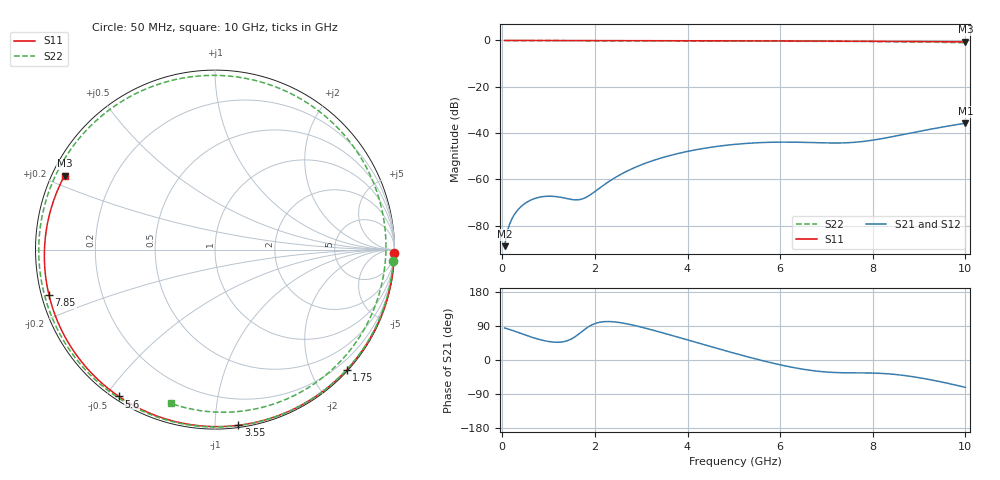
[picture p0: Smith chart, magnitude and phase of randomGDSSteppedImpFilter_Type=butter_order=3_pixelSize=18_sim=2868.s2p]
! freq	dB(S11)	phase(S11)	dB(S12)	phase(S12)
!  dB(S21)	phase(S21)	dB(S22)	phase(S22)
!S-par simulation data
#  GHz  S  DB  R 50
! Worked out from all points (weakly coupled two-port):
!   200 points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, 50 MHz to 10 GHz, reference 50 ohm
!   highest |S21| = -35.75 dB at 10 GHz (marker M1); lowest = -88.9 dB at 50 MHz (marker M2)
!   lowest |S11| = -0.6 dB at 10 GHz (marker M3), VSWR 29.23, Z = 1.8 + j11.6 ohm
!   |S11| at or under -10 dB: nowhere
!   |S22| runs from -1.0 to 0.0 dB; largest |S21 - S12| = 0
!   S11 on the Smith chart (normalised r, x): 50 MHz: 4, -96; 1.75 GHz: 0.02, -2.58; 3.55 GHz: 0.01, -1.14; 5.6 GHz: 0.01, -0.54; 7.85 GHz: 0.02, -0.13; 10 GHz: 0.04, +0.23
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0.05  -0.01 -1.2  -88.87 84.5  -88.87 84.5  -0.05 -3.8
0.15  -0.01 -3.7  -79.77 80.8  -79.77 80.8  -0.05 -11.4
0.3  -0.01 -7.4  -74.07 74.4  -74.07 74.4  -0.05 -22.6
0.45  -0.02 -11.1  -71.00 67.8  -71.00 67.8  -0.06 -33.7
0.9  -0.03 -22.1  -67.41 51.2  -67.41 51.2  -0.08 -65.2
1.3  -0.04 -31.7  -67.90 47.8  -67.90 47.8  -0.10 -90.4
1.75  -0.05 -42.4  -68.31 77.9  -68.31 77.9  -0.12 -115.5
2.15  -0.07 -51.6  -63.07 100.5  -63.07 100.5  -0.13 -135.4
2.55  -0.08 -60.7  -57.95 98.5  -57.95 98.5  -0.14 -153.6
2.95  -0.09 -69.6  -54.15 88.4  -54.15 88.4  -0.15 -170.5
3.4  -0.10 -79.3  -50.97 73.9  -50.97 73.9  -0.16 171.5
3.55  -0.11 -82.4  -50.10 68.7  -50.10 68.7  -0.17 165.6
4.25  -0.13 -96.9  -46.97 44.2  -46.97 44.2  -0.20 138.6
5.05  -0.17 -112.7  -44.84 16.5  -44.84 16.5  -0.23 107.4
5.6  -0.20 -123.2  -44.11 -1.1  -44.11 -1.1  -0.27 85.1
6.15  -0.23 -133.5  -43.91 -16.6  -43.91 -16.6  -0.30 61.9
6.7  -0.27 -143.6  -44.13 -28.0  -44.13 -28.0  -0.34 37.9
7.3  -0.31 -154.6  -44.29 -33.5  -44.29 -33.5  -0.39 11.3
7.85  -0.36 -164.7  -43.50 -34.1  -43.50 -34.1  -0.46 -13.3
8.35  -0.41 -174.0  -41.85 -36.7  -41.85 -36.7  -0.55 -35.3
9.2  -0.50 169.8  -38.52 -51.0  -38.52 -51.0  -0.74 -71.9
10  -0.59 153.8  -35.75 -72.2  -35.75 -72.2  -1.00 -106.0
